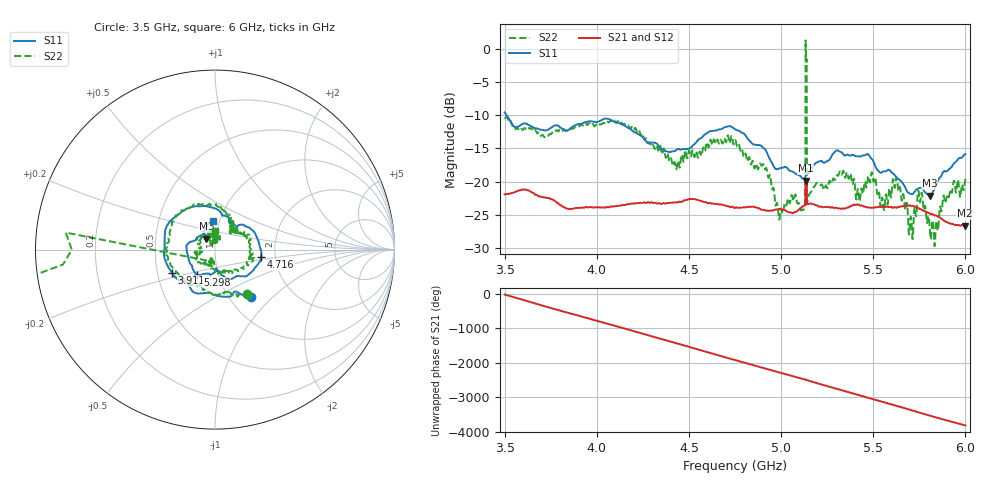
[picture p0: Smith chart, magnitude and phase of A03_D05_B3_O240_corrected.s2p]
! Created with skrf 1.9.0 (http://scikit-rf.org).
# Hz S RI R 50.0
!freq ReS11 ImS11 ReS21 ImS21 ReS12 ImS12 ReS22 ImS22
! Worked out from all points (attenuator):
!   1601 points, 3.5 GHz to 6 GHz, reference 50 ohm
!   highest |S21| = -19.89 dB at 5.133 GHz (marker M1); lowest = -26.7 dB at 5.995 GHz (marker M2)
!   lowest |S11| = -22.2 dB at 5.806 GHz (marker M3), VSWR 1.17, Z = 45.1 + j5.55 ohm
!   |S11| at or under -10 dB: 3.511 GHz to end of sweep
!   |S22| runs from -29.8 to 1.3 dB; largest |S21 - S12| = 0.001
!   S11 on the Smith chart (normalised r, x): 3.5 GHz: 1.26, -0.75; 3.911 GHz: 0.60, -0.17; 4.716 GHz: 1.69, -0.15; 5.298 GHz: 0.79, -0.23; 6 GHz: 0.93, +0.31
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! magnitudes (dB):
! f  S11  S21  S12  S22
! 3.5 GHz  -9.6  -21.9  -21.9  -10.4
! 3.911 GHz  -11.3  -24.0  -23.9  -11.5
! 3.917 GHz  -11.3  -24.0  -24.0  -11.3
! 4.334 GHz  -14.6  -23.3  -23.3  -15.3
! 4.439 GHz  -15.1  -23.2  -23.1  -17.0
! 4.716 GHz  -11.7  -23.8  -23.8  -13.5
! 4.75 GHz  -12.1  -24.0  -23.9  -13.8
! 4.912 GHz  -15.1  -24.4  -24.3  -18.2
! 4.997 GHz  -18.0  -24.1  -24.1  -24.3
! 5.119 GHz  -19.6  -23.7  -23.7  -24.3
! 5.127 GHz  -19.5  -23.6  -23.6  -24.1
! 5.133 GHz  -19.2  -19.9  -19.9  1.3
! 5.153 GHz  -18.6  -23.3  -23.3  -21.9
! 5.167 GHz  -17.9  -23.4  -23.4  -21.3
! 5.298 GHz  -15.4  -24.0  -23.9  -19.3
! 5.584 GHz  -18.2  -23.9  -23.8  -21.7
! 5.634 GHz  -19.6  -23.8  -23.8  -21.0
! 5.705 GHz  -21.9  -23.7  -23.6  -25.4
! 5.755 GHz  -21.0  -24.2  -24.1  -23.1
! 5.806 GHz  -22.2  -24.8  -24.8  -26.9
! 5.995 GHz  -15.9  -26.7  -26.6  -20.4
! 6 GHz  -15.9  -26.7  -26.6  -19.6
